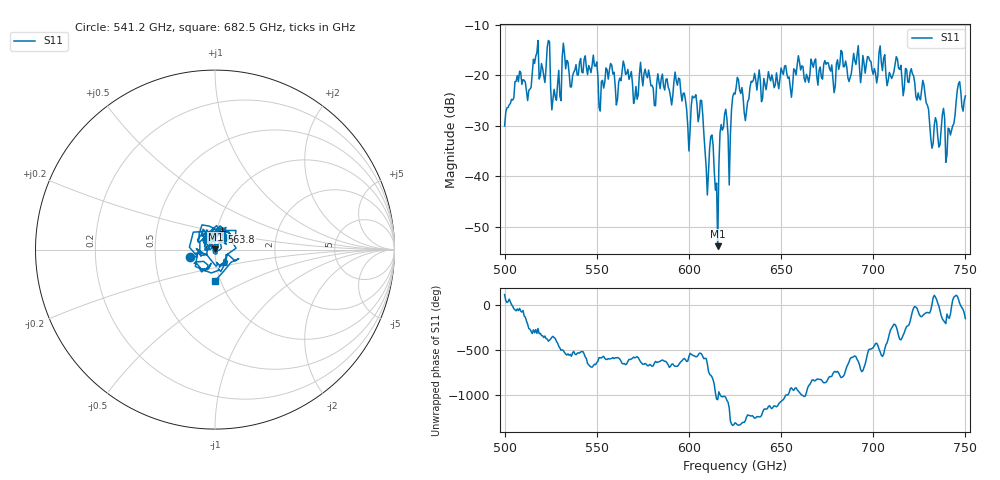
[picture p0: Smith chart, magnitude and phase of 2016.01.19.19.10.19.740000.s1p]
!Created with skrf (http://scikit-rf.org).
# GHz S RI R 50.0
!freq ReS11 ImS11
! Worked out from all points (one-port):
!   401 points, 500 GHz to 750 GHz, reference 50 ohm
!   lowest |S11| = -53.9 dB at 615.6 GHz (marker M1), VSWR 1.00, Z = 50.2 + j0.0807 ohm
!   |S11| at or under -10 dB: start of sweep to end of sweep
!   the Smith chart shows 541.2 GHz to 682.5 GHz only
!   S11 on the Smith chart (normalised r, x): 541.2 GHz: 0.75, -0.06; 563.8 GHz: 1.06, +0.22; 682.5 GHz: 0.94, -0.34
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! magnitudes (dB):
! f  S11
! 500 GHz  -30.1
! 513.1 GHz  -23.0
! 516.9 GHz  -16.3
! 523.8 GHz  -13.1
! 526.9 GHz  -22.8
! 531.2 GHz  -16.4
! 541.2 GHz  -16.7
! 562.5 GHz  -20.6
! 563.8 GHz  -19.3
! 571.2 GHz  -22.2
! 593.8 GHz  -22.0
! 599.4 GHz  -30.0
! 606.9 GHz  -25.0
! 609.4 GHz  -38.3
! 612.5 GHz  -31.9
! 615.6 GHz  -53.9
! 618.1 GHz  -30.9
! 621.9 GHz  -41.8
! 625 GHz  -23.8
! 656.2 GHz  -22.1
! 682.5 GHz  -15.1
! 687.5 GHz  -20.5
! 718.8 GHz  -21.3
! 727.5 GHz  -21.9
! 731.9 GHz  -34.5
! 740.6 GHz  -30.5
! 746.2 GHz  -21.7
! 750 GHz  -24.1
